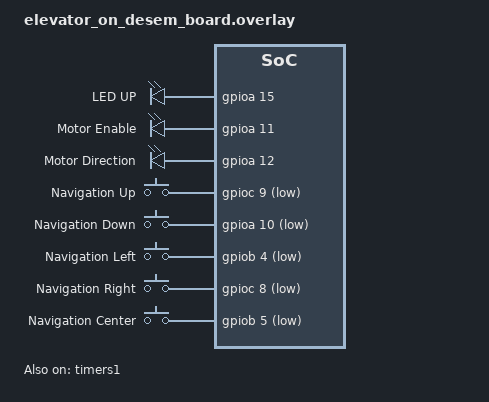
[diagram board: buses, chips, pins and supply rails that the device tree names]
/*
 * Copyright (c) 2024 HES-SO Valais, ECS, Sion
 *
 * SPDX-License-Identifier: Apache-2.0
 */

 #include <zephyr/dt-bindings/sensor/qdec_stm32.h>

/ {
    leds {
        compatible = "gpio-leds";

        led_up: elevator_led0 {
            gpios = <&gpioa 15 GPIO_ACTIVE_HIGH>;
            label = "LED UP";
        };

        motor_enable: motor_enable {
            gpios = <&gpioa 11 GPIO_ACTIVE_HIGH>;
            label = "Motor Enable";
        };

        motor_direction: motor_direction {
            gpios = <&gpioa 12 GPIO_ACTIVE_HIGH>;
            label = "Motor Direction";
        };
    };

    buttons {
        compatible = "gpio-keys";

        button_up: button_1 {
            gpios = <&gpioc 9 GPIO_ACTIVE_LOW>;
            label = "Navigation Up";
        };
        
        button_down: button_2 {
            gpios = <&gpioa 10 GPIO_ACTIVE_LOW>;
            label = "Navigation Down";
        };

        button_left: button_3 {
            gpios = <&gpiob 4 GPIO_ACTIVE_LOW>;
            label = "Navigation Left";
        };
        
        button_right: button_4 {
            gpios = <&gpioc 8 GPIO_ACTIVE_LOW>;
            label = "Navigation Right";
        };
        
        button_center: button_5 {
            gpios = <&gpiob 5 GPIO_ACTIVE_LOW>;
            label = "Navigation Center";
        };
    };

    aliases {
        qdec0 = &qdec;
        decoder = &qdec;
        led-up = &led_up;

        led-in-floor-1 = &led_up;
        led-in-floor-2 = &led_up;
        led-call-elevator-floor-1 = &led_up;
        led-call-elevator-floor-2 = &led_up;
        led-elevator-move-up = &led_up;
        led-elevator-move-down = &led_up;
        led-elevator-error = &green_led_2;
        led-elevator-operational = &led_up;

        limit-switch-floor-1 = &button_down;
        limit-switch-floor-2 = &button_up;
        button-call-on-floor-1 = &button_left;
        button-call-on-floor-2 = &button_right;
        button-elevator-up = &button_center;
        button-elevator-down = &button_center;

        motor-enable = &motor_enable;
        motor-direction = &motor_direction;
    };
};

&timers1 {
    status = "okay";

    qdec: qdec {
    /*  compatible = "st,stm32-qdec";   */
        compatible = "hevs,rse-qdec";
        status = "okay";
        pinctrl-0 = <&tim1_ch1_pa8 &tim1_ch2_pa9>;
        pinctrl-names = "default";
        st,input-polarity-inverted;
        st,input-filter-level = <FDIV32_N8>;
        st,counts-per-revolution = <14>;
    };
};
